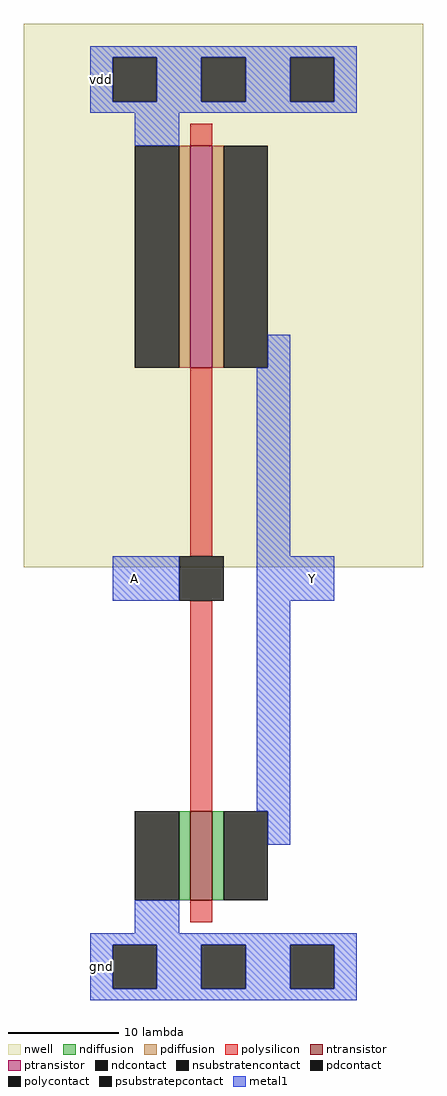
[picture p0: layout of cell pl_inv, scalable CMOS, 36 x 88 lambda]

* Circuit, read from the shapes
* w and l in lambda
.subckt pl_inv A Y vdd gnd
M1 Y A gnd gnd nfet w=8 l=2
M2 Y A vdd vdd pfet w=20 l=2
.ends

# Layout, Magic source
magic
tech scmos
<< nwell >>
rect -6 36 30 85
<< ndiffusion >>
rect 8 6 9 14
rect 11 6 12 14
<< pdiffusion >>
rect 8 54 9 74
rect 11 54 12 74
<< polysilicon >>
rect 9 4 11 6
rect 9 14 11 33
rect 9 37 11 54
rect 9 74 11 76
<< ntransistor >>
rect 9 6 11 14
<< ptransistor >>
rect 9 54 11 74
<< ndcontact >>
rect 4 6 8 14
rect 12 6 16 14
<< pdcontact >>
rect 4 54 8 74
rect 12 54 16 74
<< polycontact >>
rect 8 33 12 37
<< psubstratepcontact >>
rect 2 -2 6 2
rect 10 -2 14 2
rect 18 -2 22 2
<< nsubstratencontact >>
rect 2 78 6 82
rect 10 78 14 82
rect 18 78 22 82
<< metal1 >>
rect 0 -3 24 -2
rect 0 -2 2 2
rect 6 -2 10 2
rect 14 -2 18 2
rect 22 -2 24 2
rect 0 2 24 3
rect 4 3 8 6
rect 16 11 18 14
rect 15 14 18 33
rect 2 33 8 37
rect 15 33 22 37
rect 15 37 18 54
rect 16 54 18 57
rect 4 74 8 77
rect 0 77 24 78
rect 0 78 2 82
rect 6 78 10 82
rect 14 78 18 82
rect 22 78 24 82
rect 0 82 24 83
<< labels >>
rlabel metal1 s 2 33 6 37 0 A
port 1 nsew signal input
rlabel metal1 s 18 33 22 37 0 Y
port 2 nsew signal output
rlabel metal1 s 0 77 2 83 0 vdd
port 3 nsew power bidirectional
rlabel metal1 s 0 -3 2 3 0 gnd
port 4 nsew ground bidirectional
<< properties >>
string FIXED_BBOX 0 0 24 80
<< end >>
